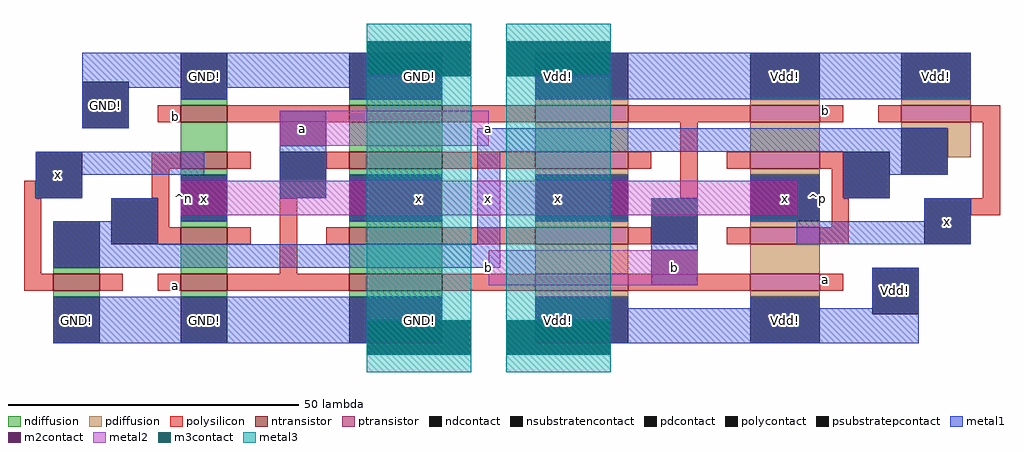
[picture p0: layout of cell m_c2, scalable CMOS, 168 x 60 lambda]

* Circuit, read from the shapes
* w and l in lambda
.subckt m_c2 GND! Vdd! a b x
M1 n1 x GND! GND! nfet w=8 l=3
M2 n2 a GND! GND! nfet w=8 l=3
M3 x n1 n2 GND! nfet w=8 l=3
M4 n3 n1 x GND! nfet w=8 l=3
M5 GND! b n3 GND! nfet w=8 l=3
M6 n4 a GND! GND! nfet w=16 l=3
M7 x b n4 GND! nfet w=16 l=3
M8 n5 a x GND! nfet w=16 l=3
M9 GND! b n5 GND! nfet w=16 l=3
M10 n6 a Vdd! Vdd! pfet w=16 l=3
M11 x b n6 Vdd! pfet w=16 l=3
M12 n7 a x Vdd! pfet w=16 l=3
M13 Vdd! b n7 Vdd! pfet w=16 l=3
M14 n8 a Vdd! Vdd! pfet w=12 l=3
M15 x n1 n8 Vdd! pfet w=12 l=3
M16 n9 n1 x Vdd! pfet w=12 l=3
M17 Vdd! b n9 Vdd! pfet w=12 l=3
M18 Vdd! x n1 Vdd! pfet w=12 l=3
.ends

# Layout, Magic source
magic
tech scmos
<< ndiffusion >>
rect -53 357 -45 358
rect -24 357 -8 358
rect -53 349 -45 354
rect -24 349 -8 354
rect -53 345 -45 346
rect -53 336 -45 337
rect -24 345 -8 346
rect -75 328 -67 329
rect -53 328 -45 333
rect -24 336 -8 337
rect -24 328 -8 333
rect -75 324 -67 325
rect -53 324 -45 325
rect -24 324 -8 325
<< pdiffusion >>
rect 8 357 24 358
rect 45 357 57 358
rect 71 357 83 358
rect 8 349 24 354
rect 8 345 24 346
rect 45 349 57 354
rect 71 353 83 354
rect 8 336 24 337
rect 45 345 57 346
rect 45 336 57 337
rect 79 348 83 353
rect 8 328 24 333
rect 45 328 57 333
rect 8 324 24 325
rect 45 324 57 325
<< ntransistor >>
rect -53 354 -45 357
rect -24 354 -8 357
rect -53 346 -45 349
rect -24 346 -8 349
rect -53 333 -45 336
rect -24 333 -8 336
rect -75 325 -67 328
rect -53 325 -45 328
rect -24 325 -8 328
<< ptransistor >>
rect 8 354 24 357
rect 45 354 57 357
rect 71 354 83 357
rect 8 346 24 349
rect 45 346 57 349
rect 8 333 24 336
rect 45 333 57 336
rect 8 325 24 328
rect 45 325 57 328
<< polysilicon >>
rect -57 354 -53 357
rect -45 354 -24 357
rect -8 354 8 357
rect 24 354 45 357
rect 57 354 61 357
rect 67 354 71 357
rect 83 354 88 357
rect -80 341 -78 344
rect -58 346 -53 349
rect -45 346 -41 349
rect -58 341 -55 346
rect -80 328 -77 341
rect -57 336 -55 341
rect -28 346 -24 349
rect -8 346 8 349
rect 24 346 28 349
rect -57 333 -53 336
rect -45 333 -41 336
rect -36 328 -33 341
rect 33 341 36 354
rect 41 346 45 349
rect 57 346 61 349
rect -28 333 -24 336
rect -8 333 8 336
rect 24 333 28 336
rect 59 341 61 346
rect 85 341 88 354
rect 59 336 62 341
rect 41 333 45 336
rect 57 333 62 336
rect 83 338 88 341
rect -80 325 -75 328
rect -67 325 -63 328
rect -57 325 -53 328
rect -45 325 -24 328
rect -8 325 8 328
rect 24 325 45 328
rect 57 325 61 328
<< ndcontact >>
rect -53 358 -45 366
rect -24 358 -8 366
rect -75 329 -67 337
rect -53 337 -45 345
rect -24 337 -8 345
rect -75 316 -67 324
rect -53 316 -45 324
rect -24 316 -8 324
<< pdcontact >>
rect 8 358 24 366
rect 45 358 57 366
rect 71 358 83 366
rect 8 337 24 345
rect 45 337 57 345
rect 71 345 79 353
rect 8 316 24 324
rect 45 316 57 324
<< psubstratepcontact >>
rect -70 353 -62 361
<< nsubstratencontact >>
rect 66 321 74 329
<< polycontact >>
rect -78 341 -70 349
rect -65 333 -57 341
rect -36 341 -28 349
rect 28 333 36 341
rect 61 341 69 349
rect 75 333 83 341
<< metal1 >>
rect -70 362 -21 366
rect 21 362 83 366
rect -70 360 -8 362
rect -70 353 -62 360
rect -53 358 -45 360
rect -24 358 -8 360
rect 8 358 83 362
rect -78 345 -49 349
rect -78 341 -70 345
rect -53 344 -45 345
rect -65 337 -57 341
rect -36 341 -28 350
rect -2 349 79 353
rect -24 344 -8 345
rect -53 337 -45 338
rect -24 337 -8 338
rect -75 333 -57 337
rect -2 333 2 349
rect 61 345 79 349
rect 8 344 24 345
rect 45 344 57 345
rect 8 337 24 338
rect -75 329 2 333
rect 28 332 36 341
rect 53 338 57 344
rect 61 341 69 345
rect 45 337 57 338
rect 75 337 83 341
rect 53 333 83 337
rect -75 320 -8 324
rect 8 322 24 324
rect 45 322 57 324
rect 66 322 74 329
rect 8 320 74 322
rect -75 316 -21 320
rect 21 316 74 320
<< m2contact >>
rect -21 362 -3 368
rect 3 362 21 368
rect -36 350 -28 356
rect -53 338 -45 344
rect -24 338 -8 344
rect 8 338 24 344
rect 45 338 53 344
rect 28 326 36 332
rect -21 314 -3 320
rect 3 314 21 320
<< metal2 >>
rect -36 350 0 356
rect -53 338 53 344
rect 0 326 36 332
<< m3contact >>
rect -21 362 -3 368
rect 3 362 21 368
rect -21 314 -3 320
rect 3 314 21 320
<< metal3 >>
rect -21 311 -3 371
rect 3 311 21 371
<< labels >>
rlabel m2contact -12 341 -12 341 1 x
rlabel metal1 -12 362 -12 362 5 GND!
rlabel m2contact 12 341 12 341 1 x
rlabel metal1 12 362 12 362 5 Vdd!
rlabel metal1 -12 320 -12 320 1 GND!
rlabel metal1 12 320 12 320 1 Vdd!
rlabel metal1 -49 362 -49 362 5 GND!
rlabel metal1 -49 320 -49 320 1 GND!
rlabel polysilicon -54 355 -54 355 3 b
rlabel polysilicon -54 326 -54 326 3 a
rlabel polysilicon 58 327 58 327 7 a
rlabel polysilicon 58 356 58 356 7 b
rlabel metal1 51 362 51 362 5 Vdd!
rlabel metal1 51 320 51 320 1 Vdd!
rlabel metal2 0 341 0 341 1 x
rlabel metal2 0 326 0 332 3 b
rlabel metal2 0 350 0 356 7 a
rlabel metal1 77 362 77 362 5 Vdd!
rlabel metal1 -71 320 -71 320 1 GND!
rlabel metal1 -74 345 -74 345 3 x
rlabel metal1 79 337 79 337 5 x
rlabel metal1 70 325 70 325 1 Vdd!
rlabel metal1 -66 357 -66 357 1 GND!
rlabel space -81 315 -24 367 7 ^n
rlabel space 24 315 89 367 3 ^p
rlabel metal2 -49 341 -49 341 1 x
rlabel metal2 51 341 51 341 1 x
rlabel metal2 -32 353 -32 353 1 a
rlabel metal2 32 329 32 329 1 b
<< end >>
